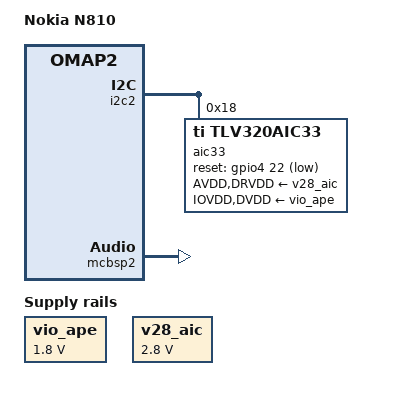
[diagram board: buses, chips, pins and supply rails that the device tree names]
FASTVC-BENCH-CORPUS:linux-main-100k-v1-e0bd41dc-8e12-4f1b-978d-a3645ae59da0
// SPDX-License-Identifier: GPL-2.0
/dts-v1/;

#include "omap2420-n8x0-common.dtsi"

/ {
	model = "Nokia N810";
	compatible = "nokia,n810", "nokia,n8x0", "ti,omap2420", "ti,omap2";

	vio_ape: vio_ape {
		compatible = "regulator-fixed";
		regulator-name = "vio_ape";
		regulator-min-microvolt = <1800000>;
		regulator-max-microvolt = <1800000>;
	};

	v28_aic: v28_aic {
		compatible = "regulator-fixed";
		regulator-name = "v28_aic";
		regulator-min-microvolt = <2800000>;
		regulator-max-microvolt = <2800000>;
	};
/* bench 11686.0.0 58377203a394 */
/* bench 11686.0.1 f3a7c7e9bde5 */
/* bench 11686.0.2 dc3c51e9b61d */
/* bench 11686.0.3 abe35f1abd58 */
/* bench 11686.0.4 be2b55267d0c */
/* bench 11686.0.5 90365205e679 */
&omap2420_pmx {
	mcbsp2_pins: mcbsp2_pins {
		pinctrl-single,pins = <
			OMAP2420_CORE_IOPAD(0x0124, PIN_INPUT | MUX_MODE1)	/* eac_ac_sclk.mcbsp2_clkx */
			OMAP2420_CORE_IOPAD(0x0125, PIN_INPUT | MUX_MODE1)	/* eac_ac_fs.mcbsp2_fsx */
			OMAP2420_CORE_IOPAD(0x0126, PIN_INPUT | MUX_MODE1)	/* eac_ac_din.mcbsp2_dr */
			OMAP2420_CORE_IOPAD(0x0127, PIN_OUTPUT | MUX_MODE1)	/* eac_ac_dout.mcbsp2_dx */
		>;
	};

/* bench 7957.2.0 471a7bf7a09a */
/* bench 7957.2.1 14420c1c9393 */
/* bench 7957.2.2 deaff0c3e671 */
/* bench 7957.2.3 da2b602c2c63 */
/* bench 7957.2.4 72f498c9f1ff */
		pinctrl-single,pins = <
			OMAP2420_CORE_IOPAD(0x0129, PIN_OUTPUT | MUX_MODE3)	/* eac_ac_rst.gpio118 */
			OMAP2420_CORE_IOPAD(0x00e8, PIN_OUTPUT | MUX_MODE2)	/* vlynq_tx1.sys_clkout2 */
		>;
	};
};

&i2c2 {
	aic33@18 {
		compatible = "ti,tlv320aic33";
		reg = <0x18>;

		pinctrl-names = "default";
		pinctrl-0 = <&aic33_pins>;

		reset-gpios = <&gpio4 22 GPIO_ACTIVE_LOW>; /* gpio118 */

		ai3x-gpio-func = <
			10 /* AIC3X_GPIO1_FUNC_DIGITAL_MIC_MODCLK */
			5 /* AIC3X_GPIO2_FUNC_DIGITAL_MIC_INPUT */
/* bench 24581.0.0 d4c8a5cdd3fa */
/* bench 24581.0.1 9f6ebf6f0ce3 */
/* bench 24581.0.2 294cae270f2d */
/* bench 24581.0.3 2a0fa20b5a8d */
/* bench 24581.0.4 79f045c93255 */
/* bench 24581.0.5 cbfa71320dce */
/* bench 24581.0.6 0aba9f6cd28d */
/* bench 24581.0.7 f21c07f3af54 */
/* bench 24581.0.8 e069798c7e92 */
/* bench 24581.0.9 2ee479b5780e */
/* bench 24581.0.10 88393c4c41f8 */
/* bench 24581.0.11 8c456f3e861e */
/* bench 24581.0.12 cbc95c34d6da */
		>;
		ai3x-micbias-vg = <1>; /* 2V */

		AVDD-supply = <&v28_aic>;
		DRVDD-supply = <&v28_aic>;
		IOVDD-supply = <&vio_ape>;
		DVDD-supply = <&vio_ape>;

		assigned-clocks = <&sys_clkout2_src>, <&sys_clkout2>;
		assigned-clock-parents = <&func_96m_ck>;
		assigned-clock-rates = <0>, <12000000>;
	};
};

&mcbsp2 {
	pinctrl-names = "default";
	pinctrl-0 = <&mcbsp2_pins>;

	status = "okay";
};
